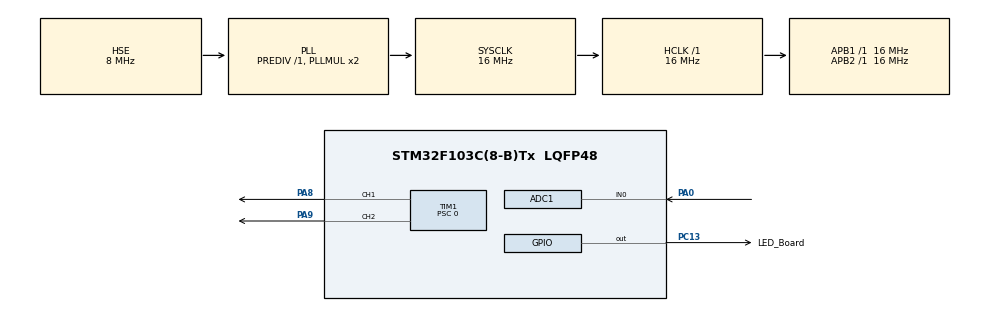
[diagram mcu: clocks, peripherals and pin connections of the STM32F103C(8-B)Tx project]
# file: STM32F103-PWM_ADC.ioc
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ADC1.Channel-0\#ChannelRegularConversion=ADC_CHANNEL_0
ADC1.NbrOfConversionFlag=1
ADC1.Rank-0\#ChannelRegularConversion=1
ADC1.SamplingTime-0\#ChannelRegularConversion=ADC_SAMPLETIME_1CYCLE_5
ADC1.master=1
Mcu.Family=STM32F1
Mcu.Name=STM32F103C(8-B)Tx
Mcu.Package=LQFP48
NVIC.PriorityGroup=NVIC_PRIORITYGROUP_4
NVIC.TIM1_UP_IRQn=true\:0\:0\:false\:false\:true\:true\:true
PA0-WKUP.Signal=ADCx_IN0
PA13.Mode=Serial_Wire
PA13.Signal=SYS_JTMS-SWDIO
PA14.Mode=Serial_Wire
PA14.Signal=SYS_JTCK-SWCLK
PA8.Signal=S_TIM1_CH1
PA9.Signal=S_TIM1_CH2
PC13-TAMPER-RTC.GPIO_Label=LED_Board
PC13-TAMPER-RTC.Signal=GPIO_Output
PD0-OSC_IN.Mode=HSE-External-Oscillator
PD0-OSC_IN.Signal=RCC_OSC_IN
PD1-OSC_OUT.Mode=HSE-External-Oscillator
PD1-OSC_OUT.Signal=RCC_OSC_OUT
ProjectManager.HeapSize=0x200
ProjectManager.StackSize=0x400
ProjectManager.TargetToolchain=STM32CubeIDE
RCC.AHBFreq_Value=16000000
RCC.APB1Freq_Value=16000000
RCC.APB1TimFreq_Value=16000000
RCC.APB2Freq_Value=16000000
RCC.APB2TimFreq_Value=16000000
RCC.HCLKFreq_Value=16000000
RCC.PLLSourceVirtual=RCC_PLLSOURCE_HSE
RCC.SYSCLKFreq_VALUE=16000000
RCC.SYSCLKSource=RCC_SYSCLKSOURCE_PLLCLK
RCC.USBFreq_Value=16000000
SH.ADCx_IN0.0=ADC1_IN0,IN0
SH.S_TIM1_CH1.0=TIM1_CH1,PWM Generation1 CH1
SH.S_TIM1_CH2.0=TIM1_CH2,PWM Generation2 CH2
TIM1.Channel-PWM\ Generation1\ CH1=TIM_CHANNEL_1
TIM1.Channel-PWM\ Generation2\ CH2=TIM_CHANNEL_2
TIM1.CounterMode=TIM_COUNTERMODE_CENTERALIGNED1
TIM1.LockLevel=TIM_LOCKLEVEL_1
TIM1.OCFastMode_PWM-PWM\ Generation1\ CH1=TIM_OCFAST_ENABLE
TIM1.OCFastMode_PWM-PWM\ Generation2\ CH2=TIM_OCFAST_ENABLE
TIM1.OCIdleState_2=TIM_OCIDLESTATE_RESET
TIM1.OCPolarity_1=TIM_OCPOLARITY_LOW
TIM1.OCPolarity_2=TIM_OCPOLARITY_HIGH
TIM1.Period=160
TIM1.Prescaler=0
VP_TIM1_VS_ClockSourceINT.Mode=Internal
board=custom

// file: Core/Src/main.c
/* USER CODE BEGIN Header */
/*
******************************************************************************
*	Project:		STM32F103 Bluepill - PWM + ADC
*
*	Description:
*
* 	Device(s):		STM32F103
*
*  	Version control:
*  	[Ref#]	- [Date]	 - [Author]		- [Detail]
* 		v1	- 2020-06-25 - Vargas		- Versão inicial
*
******************************************************************************
*/
/* USER CODE END Header */

#include "main.h"

/* USER CODE BEGIN PTD */
#define LIGA_LED 		HAL_GPIO_WritePin(GPIOC, GPIO_PIN_13, GPIO_PIN_RESET) //LED_Board
#define	DESLIGA_LED 	HAL_GPIO_WritePin(GPIOC, GPIO_PIN_13, GPIO_PIN_SET)   //LED_Board
/* USER CODE END PTD */

ADC_HandleTypeDef hadc1;

TIM_HandleTypeDef htim1;

void SystemClock_Config(void);
static void MX_GPIO_Init(void);
static void MX_ADC1_Init(void);
static void MX_TIM1_Init(void);

/* USER CODE BEGIN 0 */

//Clock do timer está 16MHz
//Queremos 50kHz de chaveamento
//Se for alinhado por borda: Contador deve ser 16MHz/50kHz = 320 (está configurado no .ioc)
//Mas como é alinhado ao centro: 320/2 = 160
//Duty cycle entre: (0~320)
	//1/3 -> usar: 53,333
#define	DutyMaximo	53
#define Duty1 		53	// 53/160 =  33,125%
#define Duty2fake 	55  // 160-53 /160 = 66,875%
						// dead time: 55-53 / 160 = 1,25%

volatile unsigned int adcPotenciometro = 0;

/* USER CODE END 0 */

int main(void)
{

  /* MCU Configuration--------------------------------------------------------*/

  /* Reset of all peripherals, Initializes the Flash interface and the Systick. */
  HAL_Init();

  /* Configure the system clock */
  SystemClock_Config();

  /* Initialize all configured peripherals */
  MX_GPIO_Init();
  MX_ADC1_Init();
  MX_TIM1_Init();
  /* USER CODE BEGIN 2 */
  HAL_TIM_PWM_Start(&htim1, TIM_CHANNEL_1);
  HAL_TIM_PWM_Start(&htim1, TIM_CHANNEL_2);
  HAL_TIM_Base_Start_IT(&htim1); 	//depois de inicializar habilita o timer 1

  DESLIGA_LED;						//Desliga LED da board

  /* USER CODE END 2 */

  /* Infinite loop */
  while (1)
  {

    /* USER CODE BEGIN 3 */
	  //Converter ADC
	  HAL_ADC_Start(&hadc1);
	  HAL_ADC_PollForConversion(&hadc1, 100);	//faz a leitura do potenciometro, via ADC
	  adcPotenciometro = HAL_ADC_GetValue(&hadc1);
	  HAL_ADC_Stop(&hadc1);
  }
  /* USER CODE END 3 */
}

void SystemClock_Config(void)
{
  RCC_OscInitTypeDef RCC_OscInitStruct = {0};
  RCC_ClkInitTypeDef RCC_ClkInitStruct = {0};
  RCC_PeriphCLKInitTypeDef PeriphClkInit = {0};

  /** Initializes the CPU, AHB and APB busses clocks
  */
  RCC_OscInitStruct.OscillatorType = RCC_OSCILLATORTYPE_HSE;
  RCC_OscInitStruct.HSEState = RCC_HSE_ON;
  RCC_OscInitStruct.HSEPredivValue = RCC_HSE_PREDIV_DIV1;
  RCC_OscInitStruct.HSIState = RCC_HSI_ON;
  RCC_OscInitStruct.PLL.PLLState = RCC_PLL_ON;
  RCC_OscInitStruct.PLL.PLLSource = RCC_PLLSOURCE_HSE;
  RCC_OscInitStruct.PLL.PLLMUL = RCC_PLL_MUL2;
  if (HAL_RCC_OscConfig(&RCC_OscInitStruct) != HAL_OK)
  {
    Error_Handler();
  }
  /** Initializes the CPU, AHB and APB busses clocks
  */
  RCC_ClkInitStruct.ClockType = RCC_CLOCKTYPE_HCLK|RCC_CLOCKTYPE_SYSCLK
                              |RCC_CLOCKTYPE_PCLK1|RCC_CLOCKTYPE_PCLK2;
  RCC_ClkInitStruct.SYSCLKSource = RCC_SYSCLKSOURCE_PLLCLK;
  RCC_ClkInitStruct.AHBCLKDivider = RCC_SYSCLK_DIV1;
  RCC_ClkInitStruct.APB1CLKDivider = RCC_HCLK_DIV1;
  RCC_ClkInitStruct.APB2CLKDivider = RCC_HCLK_DIV1;

  if (HAL_RCC_ClockConfig(&RCC_ClkInitStruct, FLASH_LATENCY_0) != HAL_OK)
  {
    Error_Handler();
  }
  PeriphClkInit.PeriphClockSelection = RCC_PERIPHCLK_ADC;
  PeriphClkInit.AdcClockSelection = RCC_ADCPCLK2_DIV2;
  if (HAL_RCCEx_PeriphCLKConfig(&PeriphClkInit) != HAL_OK)
  {
    Error_Handler();
  }
}

static void MX_ADC1_Init(void)
{

  ADC_ChannelConfTypeDef sConfig = {0};

  /** Common config
  */
  hadc1.Instance = ADC1;
  hadc1.Init.ScanConvMode = ADC_SCAN_DISABLE;
  hadc1.Init.ContinuousConvMode = DISABLE;
  hadc1.Init.DiscontinuousConvMode = DISABLE;
  hadc1.Init.ExternalTrigConv = ADC_SOFTWARE_START;
  hadc1.Init.DataAlign = ADC_DATAALIGN_RIGHT;
  hadc1.Init.NbrOfConversion = 1;
  if (HAL_ADC_Init(&hadc1) != HAL_OK)
  {
    Error_Handler();
  }
  /** Configure Regular Channel
  */
  sConfig.Channel = ADC_CHANNEL_0;
  sConfig.Rank = ADC_REGULAR_RANK_1;
  sConfig.SamplingTime = ADC_SAMPLETIME_1CYCLE_5;
  if (HAL_ADC_ConfigChannel(&hadc1, &sConfig) != HAL_OK)
  {
    Error_Handler();
  }

}

static void MX_TIM1_Init(void)
{

  TIM_ClockConfigTypeDef sClockSourceConfig = {0};
  TIM_MasterConfigTypeDef sMasterConfig = {0};
  TIM_OC_InitTypeDef sConfigOC = {0};
  TIM_BreakDeadTimeConfigTypeDef sBreakDeadTimeConfig = {0};

  htim1.Instance = TIM1;
  htim1.Init.Prescaler = 0;
  htim1.Init.CounterMode = TIM_COUNTERMODE_CENTERALIGNED1;
  htim1.Init.Period = 160;
  htim1.Init.ClockDivision = TIM_CLOCKDIVISION_DIV1;
  htim1.Init.RepetitionCounter = 0;
  htim1.Init.AutoReloadPreload = TIM_AUTORELOAD_PRELOAD_DISABLE;
  if (HAL_TIM_Base_Init(&htim1) != HAL_OK)
  {
    Error_Handler();
  }
  sClockSourceConfig.ClockSource = TIM_CLOCKSOURCE_INTERNAL;
  if (HAL_TIM_ConfigClockSource(&htim1, &sClockSourceConfig) != HAL_OK)
  {
    Error_Handler();
  }
  if (HAL_TIM_PWM_Init(&htim1) != HAL_OK)
  {
    Error_Handler();
  }
  sMasterConfig.MasterOutputTrigger = TIM_TRGO_RESET;
  sMasterConfig.MasterSlaveMode = TIM_MASTERSLAVEMODE_DISABLE;
  if (HAL_TIMEx_MasterConfigSynchronization(&htim1, &sMasterConfig) != HAL_OK)
  {
    Error_Handler();
  }
  sConfigOC.OCMode = TIM_OCMODE_PWM1;
  sConfigOC.Pulse = 0;
  sConfigOC.OCPolarity = TIM_OCPOLARITY_LOW;
  sConfigOC.OCNPolarity = TIM_OCNPOLARITY_HIGH;
  sConfigOC.OCFastMode = TIM_OCFAST_ENABLE;
  sConfigOC.OCIdleState = TIM_OCIDLESTATE_RESET;
  sConfigOC.OCNIdleState = TIM_OCNIDLESTATE_RESET;
  if (HAL_TIM_PWM_ConfigChannel(&htim1, &sConfigOC, TIM_CHANNEL_1) != HAL_OK)
  {
    Error_Handler();
  }
  sConfigOC.OCPolarity = TIM_OCPOLARITY_HIGH;
  if (HAL_TIM_PWM_ConfigChannel(&htim1, &sConfigOC, TIM_CHANNEL_2) != HAL_OK)
  {
    Error_Handler();
  }
  sBreakDeadTimeConfig.OffStateRunMode = TIM_OSSR_DISABLE;
  sBreakDeadTimeConfig.OffStateIDLEMode = TIM_OSSI_DISABLE;
  sBreakDeadTimeConfig.LockLevel = TIM_LOCKLEVEL_1;
  sBreakDeadTimeConfig.DeadTime = 0;
  sBreakDeadTimeConfig.BreakState = TIM_BREAK_DISABLE;
  sBreakDeadTimeConfig.BreakPolarity = TIM_BREAKPOLARITY_HIGH;
  sBreakDeadTimeConfig.AutomaticOutput = TIM_AUTOMATICOUTPUT_DISABLE;
  if (HAL_TIMEx_ConfigBreakDeadTime(&htim1, &sBreakDeadTimeConfig) != HAL_OK)
  {
    Error_Handler();
  }
  HAL_TIM_MspPostInit(&htim1);

}

static void MX_GPIO_Init(void)
{
  GPIO_InitTypeDef GPIO_InitStruct = {0};

  /* GPIO Ports Clock Enable */
  __HAL_RCC_GPIOC_CLK_ENABLE();
  __HAL_RCC_GPIOD_CLK_ENABLE();
  __HAL_RCC_GPIOA_CLK_ENABLE();

  /*Configure GPIO pin Output Level */
  HAL_GPIO_WritePin(LED_Board_GPIO_Port, LED_Board_Pin, GPIO_PIN_RESET);

  /*Configure GPIO pin : LED_Board_Pin */
  GPIO_InitStruct.Pin = LED_Board_Pin;
  GPIO_InitStruct.Mode = GPIO_MODE_OUTPUT_PP;
  GPIO_InitStruct.Pull = GPIO_NOPULL;
  GPIO_InitStruct.Speed = GPIO_SPEED_FREQ_LOW;
  HAL_GPIO_Init(LED_Board_GPIO_Port, &GPIO_InitStruct);

}

/* USER CODE BEGIN 4 */
//tratamento da interrupcao do timer h1
void HAL_TIM_PeriodElapsedCallback(TIM_HandleTypeDef *htim)
//void PWM_PulseFinishedCallback(TIM_HandleTypeDef *htim)
{

	LIGA_LED;//Apenas para debug old school

	/*
	//Faz uma rampa no PWM, de acordo com o valor lido no ADC:
 	if(contador>10000) //a cada 10mil ciclos do PWM (50kHz, incrementa em 1 o duty)
 	{
		RampaDuty++; //Incrementa rampa de duty cycle
		contador=0; //zera contagem
 	}
 	else
 	{
 		contador++;
 	}

 	//Limita o duty no valor do potenciômetro
	//if(RampaDuty >= adcPotenciometro)	//Se chegar no valor indicado no ADC
	//{
	//	RampaDuty= adcPotenciometro;
	//}

	//Limita o duty no valor máximo
	//if(RampaDuty >= DutyMaximo)	//Se chegar no valor m�ximo definido no c�digo
	//{
	//	RampaDuty= DutyMaximo;
	//}
	 */

	__HAL_TIM_SET_COMPARE(&htim1,TIM_CHANNEL_1,Duty1); // mudar o Dutty Cycle (configurado de 0-4095)
	__HAL_TIM_SET_COMPARE(&htim1,TIM_CHANNEL_2,Duty2fake); // mudar o Dutty Cycle (configurado de 0-4095)

	DESLIGA_LED;//Apenas para debug old school

}

/* USER CODE END 4 */

void Error_Handler(void)
{
}

/************************ (C) COPYRIGHT STMicroelectronics *****END OF FILE****/
